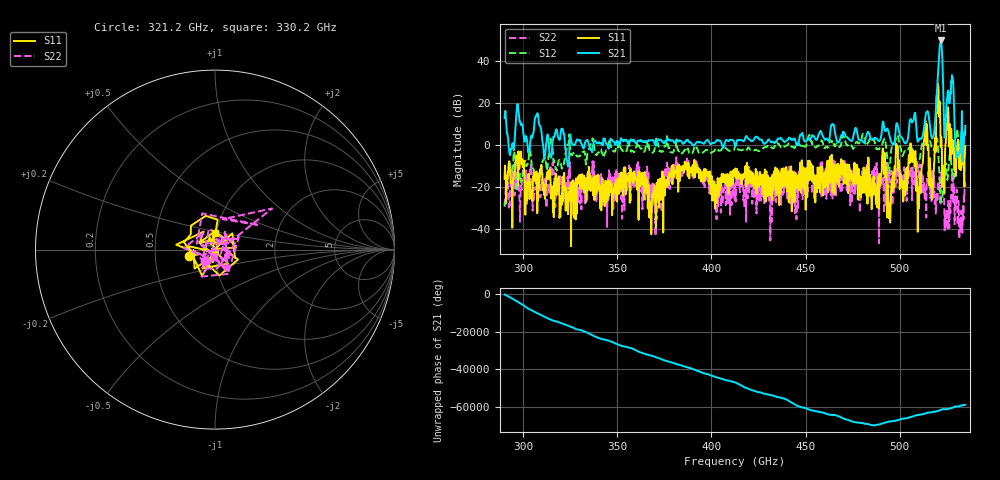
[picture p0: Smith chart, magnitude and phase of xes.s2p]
!Created with skrf (http://scikit-rf.org).
# GHz S RI R 50.0
!freq ReS11 ImS11 ReS21 ImS21 ReS12 ImS12 ReS22 ImS22
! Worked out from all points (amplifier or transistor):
!   1201 points, 290 GHz to 535 GHz, reference 50 ohm
!   highest |S21| = 49.9 dB at 521.9 GHz (marker M1)
!   |S21| within 3 dB of that: 521.325 GHz to 522.3837 GHz (1.059 GHz wide, 0.203 % of centre)
!   unconditionally stable (mu >= 1): 306.2 GHz to 314.2 GHz; 315.9 GHz to 324.3 GHz; 325.1 GHz to 334 GHz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
!   at 330.8 GHz: K = 1.07, MAG = 0.8 dB, |S12| = -4.2 dB
!   at 412.5 GHz: K = 0.96, MSG = 0.3 dB, |S12| = -0.7 dB
!   at 535 GHz: K = 1.02, MSG = 6.6 dB, |S12| = -3.9 dB
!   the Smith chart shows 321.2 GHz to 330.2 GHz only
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290  -0.0149 0.1553  1.231 -4.232  -0.0134 0.0311  -0.0288 -0.0228
331.0375  0.0325 0.1494  -0.934 -0.4795  0.5242 0.3677  -0.1308 -0.0755
371.6667  0.1145 0.0964  -1.373 0.054  -0.9946 0.0713  -0.0654 -0.044
412.5  0.1836 -0.1182  -0.9458 0.2591  -0.8983 -0.2139  0.00939 0.1014
453.5375  0.0487 0.1302  1.292 -1.141  -1.032 0.2088  0.0682 -0.00969
494.1667  0.00801 0.0161  -1.175 1.71  -0.2032 -0.129  0.0483 0.0868
519.4833  7.056 0.0107  -5.834 8.303  -1.272 0.3373  -0.0268 -0.0227
520.0958  -2.286 -5.333  28.97 -7.962  -1.299 -0.1801  -0.0263 0.036
520.3  -13.3 14.44  22.92 37.54  0.3159 1.042  -0.0718 0.0411
520.5042  -9.017 27.15  -34.72 49.48  0.6678 -0.3914  -0.0564 0.1236
520.7083  3.596 20.8  -85.99 12.52  -0.3119 -0.419  0.0477 0.1277
520.9125  2.224 4.276  -99.92 -59.05  -0.2621 0.2259  0.056 0.0525
521.1167  -6.967 0.6325  -42.5 -148.7  0.1777 0.1407  0.0114 0.0921
521.525  1.285 6.801  243.5 87.22  -0.0784 0.058  0.1281 0.0437
521.9333  -0.9024 -0.1345  -244.3 -197.6  -0.0512 -0.000862  -0.0223 0.1877
522.75  -0.0822 -0.0587  -105.4 36.27  0.0497 -0.0274  -0.1219 0.341
523.1583  0.3201 -0.00133  -9.105 -25.4  -0.0161 0.0917  -0.1089 0.0669
523.3625  0.0954 -0.2524  0.0304 -10.33  0.1195 -0.0187  -0.1375 0.0813
523.5667  -0.1375 -0.1037  0.2534 -3.853  -0.0553 -0.1451  -0.0356 0.0984
523.7708  -0.0689 0.0171  -0.6798 -1.78  -0.2006 0.0584  0.0261 0.028
524.1792  -0.4705 0.3885  -1.719 0.444  0.3153 0.1522  -0.0116 0.0202
535  -0.4518 0.8165  1.16 2.649  0.4916 0.4065  -0.0509 0.0884
